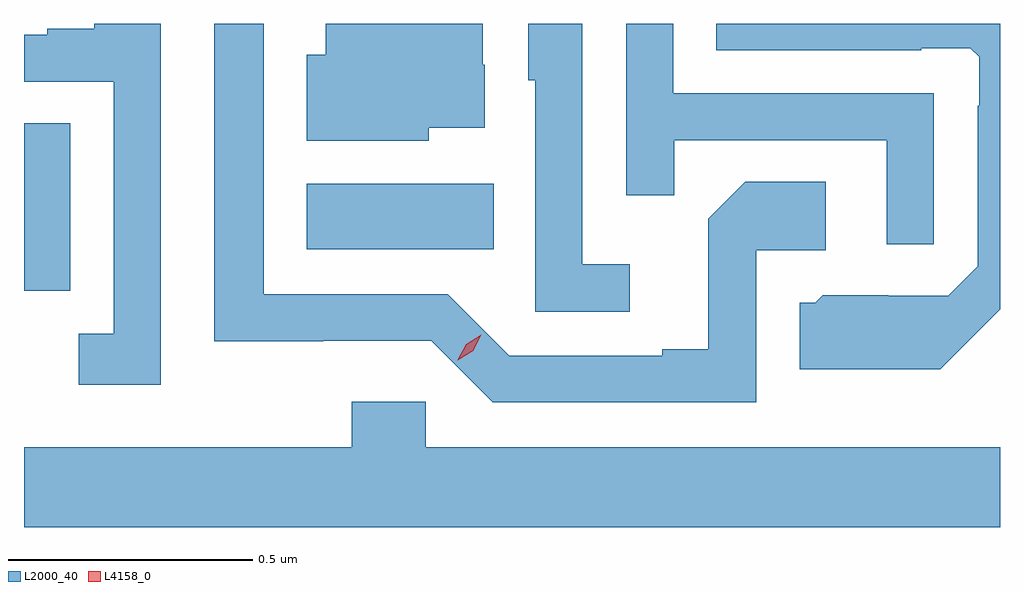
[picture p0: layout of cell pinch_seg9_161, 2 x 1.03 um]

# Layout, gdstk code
import gdstk
lib = gdstk.Library(unit=1e-6, precision=1e-09)
def R(c, l, rs):  # rectangles x0, y0, x1, y1
    for r in rs: c.add(gdstk.rectangle(r[:2], r[2:], *l))
def P(c, l, *ps):  # polygons
    for p in ps: c.add(gdstk.Polygon(p, *l))
L2000_40 = (2000, 40)
L4158_0 = (4158, 0)

pinch_seg9_161 = lib.new_cell('pinch_seg9_161')
R(pinch_seg9_161, L2000_40, [(694.235,1166.269,694.33,1166.612), (694.814,1166.354,695.198,1166.488)])
P(pinch_seg9_161, L2000_40, [(695.064,1166.603),(695.179,1166.603),(695.179,1166.732),(695.175,1166.732),(695.175,1166.816),(694.853,1166.816),(694.853,1166.752),(694.814,1166.752),(694.814,1166.576),(695.064,1166.576)],
  [(696.099,1166.673),(695.565,1166.673),(695.565,1166.816),(695.469,1166.816),(695.469,1166.464),(695.567,1166.464),(695.567,1166.577),(696.003,1166.577),(696.003,1166.364),(696.099,1166.364)],
  [(695.736,1166.352),(695.878,1166.352),(695.878,1166.492),(695.713,1166.492),(695.637,1166.416),(695.637,1166.149),(695.543,1166.149),(695.543,1166.136),(695.229,1166.136),(695.103,1166.262),(694.726,1166.262),(694.726,1166.816),(694.625,1166.816),(694.625,1166.165),(694.848,1166.165),(694.848,1166.166),(695.07,1166.166),(695.196,1166.04),(695.736,1166.04)],
  [(694.515,1166.816),(694.379,1166.816),(694.379,1166.806),(694.283,1166.806),(694.283,1166.793),(694.235,1166.793),(694.235,1166.697),(694.419,1166.697),(694.419,1166.181),(694.347,1166.181),(694.347,1166.076),(694.515,1166.076)],
  [(696.193,1166.189),(696.235,1166.231),(696.235,1166.816),(695.654,1166.816),(695.654,1166.762),(696.074,1166.762),(696.074,1166.766),(696.174,1166.766),(696.192,1166.748),(696.192,1166.648),(696.189,1166.648),(696.189,1166.319),(696.129,1166.259),(696.006,1166.259),(696.006,1166.26),(695.872,1166.26),(695.856,1166.244),(695.825,1166.244),(695.825,1166.108),(696.113,1166.108)],
  [(695.476,1166.323),(695.379,1166.323),(695.379,1166.816),(695.268,1166.816),(695.268,1166.7),(695.283,1166.7),(695.283,1166.226),(695.476,1166.226)],
  [(696.235,1165.948),(695.058,1165.948),(695.058,1166.041),(694.907,1166.041),(694.907,1165.948),(694.235,1165.948),(694.235,1165.784),(696.235,1165.784)])
P(pinch_seg9_161, L4158_0, [(695.124,1166.126),(695.124,1166.127),(695.141,1166.159),(695.172,1166.179),(695.172,1166.179),(695.172,1166.179),(695.156,1166.146),(695.124,1166.126)])

lib.write_gds('pinch_seg9_161.gds')
